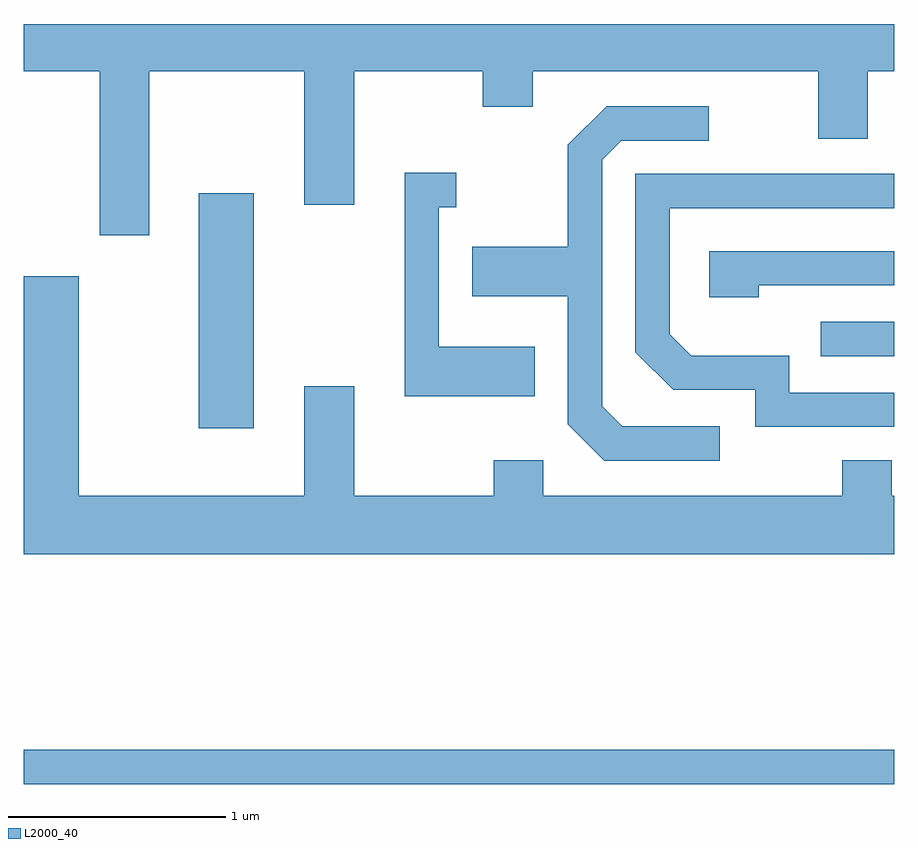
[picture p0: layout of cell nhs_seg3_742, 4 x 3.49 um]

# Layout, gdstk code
import gdstk
lib = gdstk.Library(unit=1e-6, precision=1e-09)
def R(c, l, rs):  # rectangles x0, y0, x1, y1
    for r in rs: c.add(gdstk.rectangle(r[:2], r[2:], *l))
def P(c, l, *ps):  # polygons
    for p in ps: c.add(gdstk.Polygon(p, *l))
L2000_40 = (2000, 40)

nhs_seg3_742 = lib.new_cell('nhs_seg3_742')
R(nhs_seg3_742, L2000_40, [(205.611,1240.401,209.611,1240.559), (206.416,1242.036,206.669,1243.114), (209.273,1242.366,209.611,1242.524)])
P(nhs_seg3_742, L2000_40, [(206.189,1243.676),(206.901,1243.676),(206.901,1243.061),(207.129,1243.061),(207.129,1243.676),(207.721,1243.676),(207.721,1243.511),(207.949,1243.511),(207.949,1243.676),(209.261,1243.676),(209.261,1243.366),(209.489,1243.366),(209.489,1243.676),(209.611,1243.676),(209.611,1243.892),(205.611,1243.892),(205.611,1243.676),(205.961,1243.676),(205.961,1242.921),(206.189,1242.921)],
  [(208.808,1242.044),(208.362,1242.044),(208.269,1242.137),(208.269,1243.269),(208.357,1243.356),(208.758,1243.356),(208.758,1243.514),(208.289,1243.514),(208.111,1243.337),(208.111,1242.869),(207.671,1242.869),(207.671,1242.641),(208.111,1242.641),(208.111,1242.054),(208.279,1241.886),(208.808,1241.886)],
  [(207.959,1242.409),(207.519,1242.409),(207.519,1243.051),(207.598,1243.051),(207.598,1243.209),(207.361,1243.209),(207.361,1242.181),(207.959,1242.181)],
  [(209.611,1242.199),(209.129,1242.199),(209.129,1242.369),(208.677,1242.369),(208.579,1242.467),(208.579,1243.046),(209.611,1243.046),(209.611,1243.204),(208.421,1243.204),(208.421,1242.384),(208.594,1242.211),(208.971,1242.211),(208.971,1242.041),(209.611,1242.041)],
  [(208.989,1242.691),(209.611,1242.691),(209.611,1242.849),(208.761,1242.849),(208.761,1242.636),(208.989,1242.636)],
  [(209.611,1241.724),(209.599,1241.724),(209.599,1241.889),(209.371,1241.889),(209.371,1241.724),(207.999,1241.724),(207.999,1241.889),(207.771,1241.889),(207.771,1241.724),(207.129,1241.724),(207.129,1242.229),(206.901,1242.229),(206.901,1241.724),(205.864,1241.724),(205.864,1242.734),(205.611,1242.734),(205.611,1241.456),(209.611,1241.456)])

lib.write_gds('nhs_seg3_742.gds')
